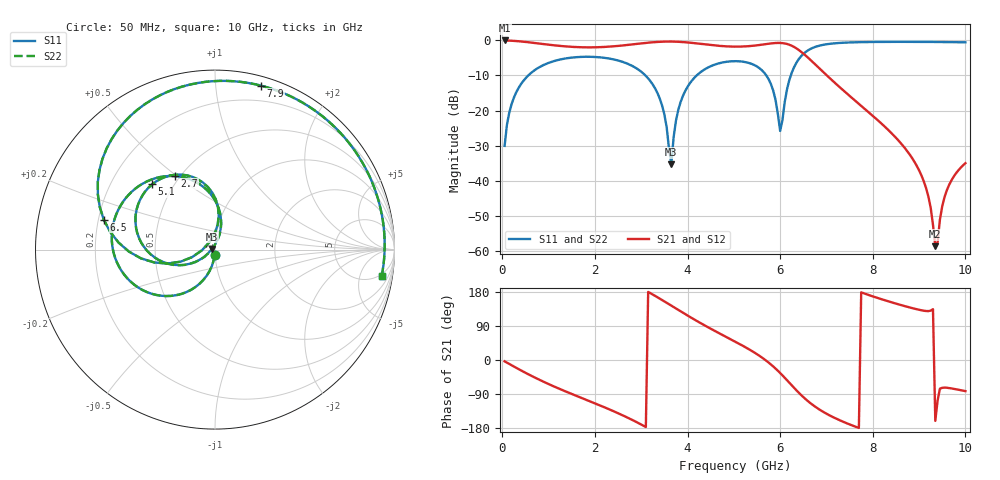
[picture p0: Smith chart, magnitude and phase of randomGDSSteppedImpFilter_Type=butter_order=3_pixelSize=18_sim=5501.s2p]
! freq	dB(S11)	phase(S11)	dB(S12)	phase(S12)
!  dB(S21)	phase(S21)	dB(S22)	phase(S22)
!S-par simulation data
#  GHz  S  DB  R 50
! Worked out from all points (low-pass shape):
!   200 points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, 50 MHz to 10 GHz, reference 50 ohm
!   highest |S21| = -0.01 dB at 50 MHz (marker M1); lowest = -58.7 dB at 9.35 GHz (marker M2)
!   |S21| within 3 dB of the highest: start of sweep to 6.431 GHz
!   lowest |S11| = -35.3 dB at 3.65 GHz (marker M3), VSWR 1.04, Z = 48.4 + j0.392 ohm
!   |S11| at or under -10 dB: start of sweep to 560.7 MHz; 3.091 GHz to 4.197 GHz (1.106 GHz wide, 30.4 % of centre); 5.702 GHz to 6.23 GHz (528.5 MHz wide, 8.86 % of centre)
!   |S22| runs from -35.7 to -0.4 dB; largest |S21 - S12| = 0
!   S11 on the Smith chart (normalised r, x): 50 MHz: 0.99, -0.06; 2.7 GHz: 0.47, +0.49; 5.1 GHz: 0.38, +0.37; 6.5 GHz: 0.22, +0.13; 7.9 GHz: 0.07, +1.31; 10 GHz: 4, -11
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0.05  -30.07 -93.6  -0.01 -3.5  -0.01 -3.5  -30.07 -93.6
0.2  -18.19 -104.3  -0.09 -13.8  -0.09 -13.8  -18.19 -104.3
0.5  -10.83 -124.2  -0.42 -33.7  -0.42 -33.7  -10.83 -124.2
1.75  -4.67 167.6  -1.96 -102.0  -1.96 -102.0  -4.67 167.6
2.7  -6.61 118.7  -1.30 -151.8  -1.30 -151.8  -6.61 118.6
3.4  -16.56 76.9  -0.39 162.0  -0.39 162.0  -16.56 76.5
3.65  -35.28 166.4  -0.32 143.5  -0.32 143.5  -35.74 167.8
3.75  -22.89 -146.3  -0.36 136.0  -0.36 136.0  -22.91 -145.4
4  -13.23 -156.6  -0.57 117.4  -0.57 117.4  -13.23 -156.3
5.05  -5.91 137.1  -1.77 47.1  -1.77 47.1  -5.91 137.2
5.1  -5.94 133.9  -1.77 43.8  -1.77 43.8  -5.94 134.0
5.75  -11.03 89.2  -0.94 -6.7  -0.94 -6.7  -11.03 89.3
6  -25.81 128.0  -0.72 -34.3  -0.72 -34.3  -25.74 128.2
6.2  -11.21 -163.6  -1.24 -60.1  -1.24 -60.1  -11.21 -163.6
6.5  -3.85 164.9  -3.73 -97.9  -3.73 -97.9  -3.85 164.9
6.7  -2.14 145.5  -6.12 -118.2  -6.12 -118.2  -2.14 145.5
7.9  -0.46 74.4  -20.34 172.0  -20.34 172.0  -0.46 74.5
8.35  -0.41 55.1  -25.73 154.3  -25.73 154.3  -0.41 55.1
9.05  -0.42 27.0  -38.47 131.2  -38.47 131.2  -0.42 27.0
9.35  -0.44 15.5  -58.66 -160.7  -58.66 -160.7  -0.44 15.5
9.6  -0.47 6.0  -42.70 -73.2  -42.70 -73.2  -0.47 6.0
10  -0.53 -8.9  -35.01 -82.1  -35.01 -82.1  -0.53 -8.9
